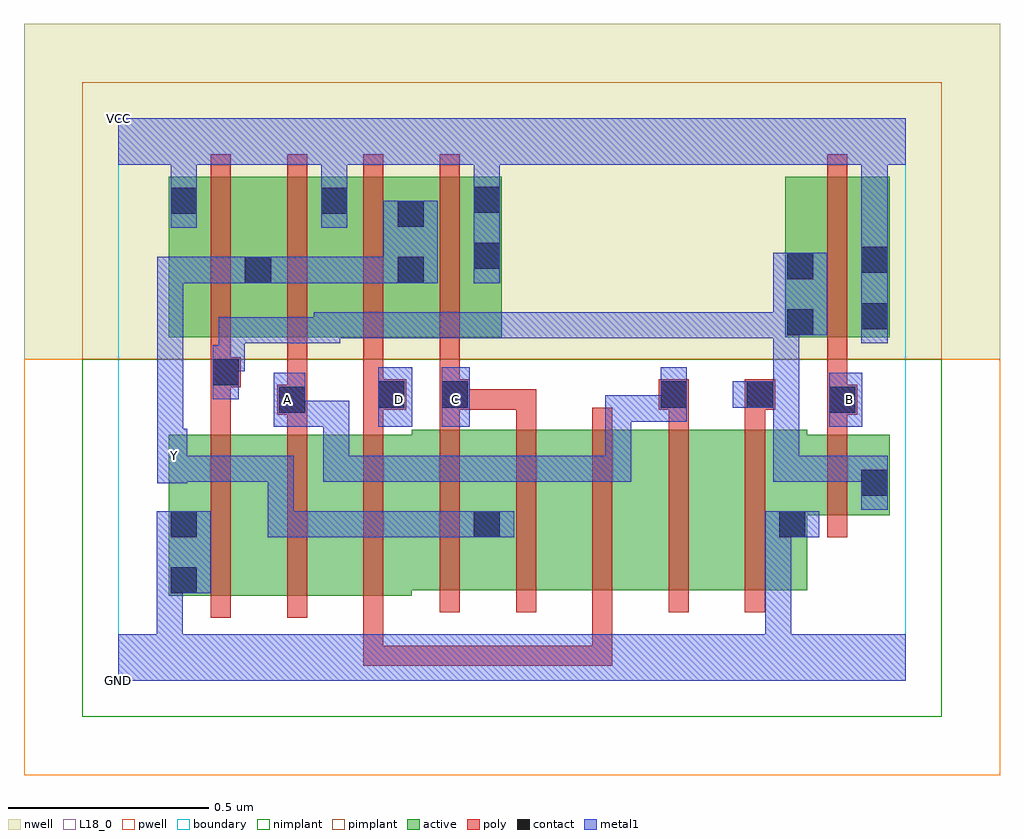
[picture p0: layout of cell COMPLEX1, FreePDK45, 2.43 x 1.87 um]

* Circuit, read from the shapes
.subckt COMPLEX1 A B C D GND VCC Y
M1 n1 n2 GND VSUBS nfet w=0.4u l=0.05u
M2 n3 A n1 VSUBS nfet w=0.4u l=0.05u
M3 n4 D n3 VSUBS nfet w=0.4u l=0.05u
M4 Y C n4 VSUBS nfet w=0.4u l=0.05u
M5 n5 C Y VSUBS nfet w=0.4u l=0.05u
M6 n6 D n5 VSUBS nfet w=0.4u l=0.05u
M7 n7 A n6 VSUBS nfet w=0.4u l=0.05u
M8 GND n2 n7 VSUBS nfet w=0.4u l=0.05u
M9 n2 B GND VSUBS nfet w=0.2u l=0.05u
M10 Y n2 VCC n8 pfet w=0.4u l=0.05u
M11 VCC A Y n8 pfet w=0.4u l=0.05u
M12 Y D VCC n8 pfet w=0.4u l=0.05u
M13 VCC C Y n8 pfet w=0.4u l=0.05u
M14 VCC B n2 n8 pfet w=0.4u l=0.05u
.ends

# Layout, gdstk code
import gdstk
lib = gdstk.Library(unit=1e-6, precision=1e-09)
def R(c, l, rs):  # rectangles x0, y0, x1, y1
    for r in rs: c.add(gdstk.rectangle(r[:2], r[2:], *l))
def A(c, l, x, y, w, h, nx, ny, dx, dy):  # array of equal rectangles
    R(c, l, [(x+i*dx, y+j*dy, x+i*dx+w, y+j*dy+h) for i in range(nx) for j in range(ny)])
active = (1, 0)
pwell = (2, 0)
nwell = (3, 0)
nimplant = (4, 0)
pimplant = (5, 0)
poly = (9, 0)
contact = (10, 0)
metal1 = (11, 0)
L18_0 = (18, 0)
boundary = (235, 0)

complex1 = lib.new_cell('COMPLEX1')
A(complex1, active, 0.31, 0.855, 0.265, 0.4, 3, 1, 0.19, 0)
R(complex1, active, [(0.125,0.212,0.35,0.612), (0.125,0.212,0.2,0.612), (0.35,0.212,0.54,0.612), (0.54,0.212,0.73,0.612), (0.73,0.225,0.955,0.625), (0.88,0.225,1.11,0.625), (0.88,0.225,0.955,0.617), (1.11,0.225,1.3,0.625), (1.3,0.225,1.49,0.625), (1.49,0.225,1.715,0.625), (1.64,0.225,1.715,0.597), (1.64,0.412,1.92,0.612), (1.845,0.412,1.92,0.612), (0.125,0.855,0.2,1.255), (0.125,0.855,0.385,1.255), (0.88,0.855,0.955,1.255), (1.66,0.855,1.92,1.255), (1.66,0.855,1.735,1.2), (1.845,0.855,1.92,1.255), (0.31,0.907,0.385,1.2), (0.5,0.907,0.575,1.255), (0.69,0.907,0.765,1.2)])
R(complex1, pwell, [(-0.235,-0.235,2.195,0.8)])
R(complex1, nwell, [(-0.235,0.8,2.195,1.635)])
R(complex1, nimplant, [(-0.09,-0.09,2.05,0.8)])
R(complex1, pimplant, [(-0.09,0.8,2.05,1.49)])
A(complex1, poly, 0.23, 0.157, 0.05, 0.51, 3, 1, 0.19, 0)
A(complex1, poly, 0.8, 0.17, 0.05, 0.51, 5, 1, 0.19, 0)
A(complex1, poly, 0.23, 0.8, 0.05, 0.51, 4, 1, 0.19, 0)
R(complex1, poly, [(0.61,0.037,0.66,0.087), (0.61,0.037,0.66,0.087), (0.61,0.037,0.66,0.087), (0.61,0.037,0.85,0.087), (0.61,0.037,0.66,0.207), (0.8,0.037,0.85,0.087), (0.8,0.037,0.85,0.087), (0.8,0.037,0.85,0.087), (0.8,0.037,0.982,0.087), (0.932,0.037,0.982,0.087), (0.932,0.037,1.23,0.087), (1.18,0.037,1.23,0.087), (1.18,0.037,1.23,0.087), (1.18,0.037,1.23,0.087), (1.18,0.037,1.23,0.22), (1.765,0.357,1.815,0.667), (0.23,0.617,0.28,0.78), (0.42,0.617,0.47,0.712), (0.61,0.617,0.66,0.725), (1.765,0.617,1.815,0.712), (0.8,0.63,0.85,0.725), (0.99,0.63,1.04,0.725), (1.37,0.63,1.42,0.725), (1.56,0.63,1.61,0.725), (0.395,0.662,0.47,0.737), (1.765,0.662,1.815,0.712), (1.765,0.662,1.815,0.712), (1.765,0.662,1.84,0.737), (0.61,0.675,0.66,0.725), (0.61,0.675,0.66,0.725), (0.61,0.675,0.717,0.75), (0.8,0.675,0.85,0.725), (0.8,0.675,0.85,0.725), (0.8,0.675,0.85,0.725), (0.8,0.675,0.85,0.725), (0.8,0.675,0.875,0.75), (0.8,0.675,1.04,0.725), (0.99,0.675,1.04,0.725), (1.345,0.675,1.42,0.75), (1.56,0.675,1.635,0.75), (0.42,0.687,0.47,0.85), (0.42,0.687,0.47,0.737), (0.42,0.687,0.47,0.737), (1.765,0.687,1.815,0.85), (0.61,0.7,0.66,0.85), (0.8,0.7,0.85,0.85), (0.23,0.73,0.28,0.78), (0.23,0.73,0.28,0.78), (0.23,0.73,0.305,0.805), (0.23,0.755,0.28,0.85), (1.765,0.8,1.815,1.31)])
R(complex1, contact, [(0.13,0.217,0.195,0.282), (0.13,0.357,0.195,0.422), (0.885,0.357,0.95,0.422), (1.645,0.357,1.71,0.422), (1.85,0.46,1.915,0.525), (0.4,0.667,0.465,0.732), (1.77,0.667,1.835,0.732), (0.647,0.68,0.712,0.745), (0.805,0.68,0.87,0.745), (1.35,0.68,1.415,0.745), (1.565,0.68,1.63,0.745), (0.235,0.735,0.3,0.8), (1.665,0.86,1.73,0.925), (1.85,0.875,1.915,0.94), (0.315,0.99,0.38,1.055), (0.695,0.99,0.76,1.055), (1.665,1,1.73,1.065), (1.85,1.015,1.915,1.08), (0.885,1.025,0.95,1.09), (0.695,1.13,0.76,1.195), (0.13,1.162,0.195,1.227), (0.505,1.162,0.57,1.227), (0.885,1.165,0.95,1.23)])
R(complex1, metal1, [(0,0,1.96,0.115), (0.095,0.05,0.16,0.282), (1.61,0.05,1.675,0.115), (1.61,0.05,1.675,0.115), (1.61,0.05,1.675,0.422), (0.095,0.217,0.16,0.282), (0.095,0.217,0.16,0.282), (0.095,0.217,0.23,0.422), (0.372,0.357,0.575,0.422), (0.372,0.357,0.437,0.56), (0.51,0.357,0.575,0.422), (0.51,0.357,0.712,0.422), (0.647,0.357,0.712,0.422), (0.647,0.357,0.712,0.422), (0.647,0.357,0.712,0.422), (0.647,0.357,0.915,0.422), (0.85,0.357,0.915,0.422), (0.85,0.357,0.915,0.422), (0.85,0.357,0.985,0.422), (1.61,0.357,1.745,0.422), (1.85,0.425,1.915,0.56), (0.097,0.492,0.172,0.627), (0.107,0.495,0.172,0.56), (0.107,0.495,0.172,0.56), (0.107,0.495,0.315,0.56), (0.25,0.495,0.315,0.56), (0.25,0.495,0.315,0.56), (0.25,0.495,0.315,0.56), (0.25,0.495,0.437,0.56), (0.51,0.495,0.712,0.56), (0.51,0.495,0.575,0.697), (0.647,0.495,0.712,0.56), (0.647,0.495,0.712,0.56), (0.647,0.495,0.712,0.56), (0.647,0.495,1.002,0.56), (0.937,0.495,1.002,0.56), (0.937,0.495,1.002,0.56), (0.937,0.495,1.002,0.56), (0.937,0.495,1.14,0.56), (1.075,0.495,1.14,0.56), (1.075,0.495,1.14,0.56), (1.075,0.495,1.14,0.56), (1.075,0.495,1.277,0.56), (1.212,0.495,1.277,0.56), (1.212,0.495,1.277,0.56), (1.212,0.495,1.277,0.71), (1.63,0.495,1.695,0.56), (1.63,0.495,1.915,0.56), (1.63,0.495,1.695,0.745), (1.85,0.495,1.915,0.56), (1.85,0.495,1.915,0.56), (0.097,0.562,0.162,1.055), (0.387,0.632,0.465,0.767), (0.4,0.632,0.575,0.697), (0.647,0.632,0.732,0.78), (0.805,0.632,0.875,0.78), (1.77,0.632,1.852,0.767), (1.212,0.645,1.415,0.71), (1.35,0.645,1.415,0.78), (1.53,0.68,1.665,0.745), (1.6,0.68,1.695,0.745), (1.63,0.68,1.695,0.745), (1.63,0.68,1.695,0.925), (0.235,0.7,0.3,0.835), (0.235,0.77,0.315,0.835), (0.25,0.77,0.315,0.905), (0.25,0.84,0.552,0.905), (0.487,0.84,0.552,0.917), (1.85,0.84,1.915,1.115), (0.487,0.852,0.552,0.917), (0.487,0.852,0.552,0.917), (0.487,0.852,0.552,0.917), (0.487,0.852,0.552,0.917), (0.487,0.852,0.732,0.917), (0.667,0.852,0.732,0.917), (0.667,0.852,0.732,0.917), (0.667,0.852,0.732,0.917), (0.667,0.852,0.87,0.917), (0.805,0.852,0.87,0.917), (0.805,0.852,0.87,0.917), (0.805,0.852,0.87,0.917), (0.805,0.852,1.14,0.917), (1.075,0.852,1.14,0.917), (1.075,0.852,1.14,0.917), (1.075,0.852,1.14,0.917), (1.075,0.852,1.277,0.917), (1.212,0.852,1.277,0.917), (1.212,0.852,1.277,0.917), (1.212,0.852,1.277,0.917), (1.212,0.852,1.457,0.917), (1.392,0.852,1.457,0.917), (1.392,0.852,1.457,0.917), (1.392,0.852,1.457,0.917), (1.392,0.852,1.695,0.917), (1.63,0.852,1.695,0.925), (1.63,0.86,1.695,0.925), (1.63,0.86,1.695,0.925), (1.63,0.86,1.695,0.925), (1.63,0.86,1.765,1.065), (0.097,0.99,0.162,1.055), (0.097,0.99,0.162,1.055), (0.097,0.99,0.162,1.055), (0.097,0.99,0.162,1.055), (0.097,0.99,0.162,1.055), (0.097,0.99,0.345,1.055), (0.28,0.99,0.415,1.055), (0.35,0.99,0.415,1.055), (0.35,0.99,0.415,1.055), (0.35,0.99,0.575,1.055), (0.51,0.99,0.575,1.055), (0.51,0.99,0.575,1.055), (0.51,0.99,0.575,1.055), (0.51,0.99,0.725,1.055), (0.66,0.99,0.725,1.055), (0.66,0.99,0.725,1.055), (0.66,0.99,0.795,1.195), (0.885,0.99,0.95,1.265), (1.85,1.05,1.915,1.35), (0.13,1.127,0.195,1.262), (0.505,1.127,0.57,1.262), (0.13,1.197,0.195,1.35), (0.505,1.197,0.57,1.35), (0.885,1.2,0.95,1.35), (0,1.285,1.96,1.4)])
R(complex1, L18_0, [(0,0,1.96,0.115), (0.095,0.05,0.16,0.282), (1.61,0.05,1.675,0.115), (1.61,0.05,1.675,0.115), (1.61,0.05,1.675,0.422), (0.095,0.217,0.16,0.282), (0.095,0.217,0.16,0.282), (0.095,0.217,0.23,0.422), (0.372,0.357,0.437,0.56), (0.372,0.357,0.575,0.422), (0.51,0.357,0.575,0.422), (0.51,0.357,0.712,0.422), (0.647,0.357,0.712,0.422), (0.647,0.357,0.712,0.422), (0.647,0.357,0.712,0.422), (0.647,0.357,0.915,0.422), (0.85,0.357,0.915,0.422), (0.85,0.357,0.915,0.422), (0.85,0.357,0.985,0.422), (1.61,0.357,1.745,0.422), (0.097,0.492,0.172,0.627), (0.107,0.495,0.172,0.56), (0.107,0.495,0.172,0.56), (0.107,0.495,0.315,0.56), (0.25,0.495,0.315,0.56), (0.25,0.495,0.315,0.56), (0.25,0.495,0.315,0.56), (0.25,0.495,0.437,0.56), (0.51,0.495,0.575,0.697), (0.51,0.495,0.712,0.56), (0.647,0.495,0.712,0.56), (0.647,0.495,0.712,0.56), (0.647,0.495,0.712,0.56), (0.647,0.495,1.002,0.56), (0.937,0.495,1.002,0.56), (0.937,0.495,1.002,0.56), (0.937,0.495,1.002,0.56), (0.937,0.495,1.14,0.56), (1.075,0.495,1.14,0.56), (1.075,0.495,1.14,0.56), (1.075,0.495,1.14,0.56), (1.075,0.495,1.277,0.56), (1.212,0.495,1.277,0.56), (1.212,0.495,1.277,0.56), (1.212,0.495,1.277,0.71), (0.107,0.527,0.172,0.592), (0.097,0.562,0.162,1.055), (0.387,0.632,0.465,0.767), (0.4,0.632,0.575,0.697), (0.647,0.632,0.732,0.78), (0.805,0.632,0.875,0.78), (1.77,0.632,1.852,0.767), (1.212,0.645,1.415,0.71), (1.35,0.645,1.415,0.78), (0.387,0.667,0.452,0.732), (0.667,0.667,0.732,0.732), (0.807,0.667,0.872,0.732), (1.787,0.667,1.852,0.732), (1.85,0.84,1.915,1.115), (0.097,0.99,0.162,1.055), (0.097,0.99,0.162,1.055), (0.097,0.99,0.162,1.055), (0.097,0.99,0.162,1.055), (0.097,0.99,0.162,1.055), (0.097,0.99,0.345,1.055), (0.28,0.99,0.415,1.055), (0.35,0.99,0.415,1.055), (0.35,0.99,0.415,1.055), (0.35,0.99,0.575,1.055), (0.51,0.99,0.575,1.055), (0.51,0.99,0.575,1.055), (0.51,0.99,0.575,1.055), (0.51,0.99,0.725,1.055), (0.66,0.99,0.725,1.055), (0.66,0.99,0.725,1.055), (0.66,0.99,0.795,1.195), (0.885,0.99,0.95,1.265), (1.85,1.05,1.915,1.35), (0.13,1.127,0.195,1.262), (0.505,1.127,0.57,1.262), (0.13,1.197,0.195,1.35), (0.505,1.197,0.57,1.35), (0.885,1.2,0.95,1.35), (0,1.285,1.96,1.4)])
R(complex1, boundary, [(0,0,1.96,1.4)])
complex1.add(gdstk.Label('A', (0.42,0.7), layer=11, texttype=0))
complex1.add(gdstk.Label('B', (1.82,0.7), layer=11, texttype=0))
complex1.add(gdstk.Label('C', (0.84,0.7), layer=11, texttype=0))
complex1.add(gdstk.Label('D', (0.7,0.7), layer=11, texttype=0))
complex1.add(gdstk.Label('Y', (0.14,0.56), layer=11, texttype=0))
complex1.add(gdstk.Label('VCC', (0,1.4), layer=11, texttype=0))
complex1.add(gdstk.Label('GND', (0,0), layer=11, texttype=0))

lib.write_gds('COMPLEX1.gds')
